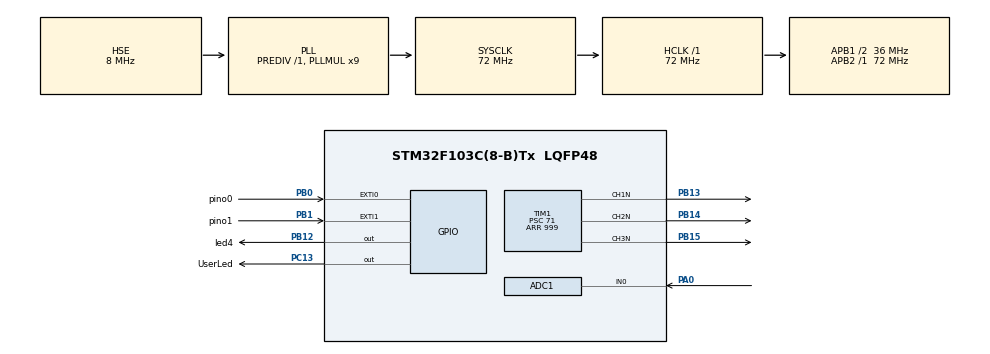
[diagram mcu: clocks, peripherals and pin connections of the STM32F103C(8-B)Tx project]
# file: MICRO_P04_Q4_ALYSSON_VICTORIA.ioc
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ADC1.Channel-0\#ChannelRegularConversion=ADC_CHANNEL_0
ADC1.ExternalTrigConv=ADC_EXTERNALTRIGCONV_T3_TRGO
ADC1.NbrOfConversionFlag=1
ADC1.Rank-0\#ChannelRegularConversion=1
ADC1.SamplingTime-0\#ChannelRegularConversion=ADC_SAMPLETIME_1CYCLE_5
ADC1.master=1
Dma.ADC1.0.Direction=DMA_PERIPH_TO_MEMORY
Dma.ADC1.0.Instance=DMA1_Channel1
Dma.ADC1.0.MemDataAlignment=DMA_MDATAALIGN_HALFWORD
Dma.ADC1.0.MemInc=DMA_MINC_ENABLE
Dma.ADC1.0.Mode=DMA_CIRCULAR
Dma.ADC1.0.PeriphDataAlignment=DMA_PDATAALIGN_HALFWORD
Dma.ADC1.0.PeriphInc=DMA_PINC_DISABLE
Dma.ADC1.0.Priority=DMA_PRIORITY_LOW
Dma.Request0=ADC1
Mcu.Family=STM32F1
Mcu.Name=STM32F103C(8-B)Tx
Mcu.Package=LQFP48
NVIC.ADC1_2_IRQn=true\:0\:0\:false\:false\:true\:true\:true\:true
NVIC.DMA1_Channel1_IRQn=true\:0\:0\:false\:false\:true\:false\:true\:true
NVIC.EXTI0_IRQn=true\:0\:0\:true\:false\:true\:true\:true\:true
NVIC.EXTI1_IRQn=true\:0\:0\:true\:false\:true\:true\:true\:true
NVIC.PriorityGroup=NVIC_PRIORITYGROUP_4
PA0-WKUP.Signal=ADCx_IN0
PA13.Mode=Serial_Wire
PA13.Signal=SYS_JTMS-SWDIO
PA14.Mode=Serial_Wire
PA14.Signal=SYS_JTCK-SWCLK
PB0.GPIO_Label=pino0
PB0.GPIO_ModeDefaultEXTI=GPIO_MODE_IT_FALLING
PB0.GPIO_PuPd=GPIO_PULLUP
PB0.Signal=GPXTI0
PB1.GPIO_Label=pino1
PB1.GPIO_ModeDefaultEXTI=GPIO_MODE_IT_FALLING
PB1.GPIO_PuPd=GPIO_PULLUP
PB1.Signal=GPXTI1
PB12.GPIO_Label=led4
PB12.GPIO_Speed=GPIO_SPEED_FREQ_LOW
PB12.PinState=GPIO_PIN_SET
PB12.Signal=GPIO_Output
PB13.Mode=PWM Generation1 CH1N
PB13.Signal=TIM1_CH1N
PB14.Mode=PWM Generation2 CH2N
PB14.Signal=TIM1_CH2N
PB15.Mode=PWM Generation3 CH3N
PB15.Signal=TIM1_CH3N
PC13-TAMPER-RTC.GPIO_Label=UserLed
PC13-TAMPER-RTC.PinState=GPIO_PIN_SET
PC13-TAMPER-RTC.Signal=GPIO_Output
PD0-OSC_IN.Mode=HSE-External-Oscillator
PD0-OSC_IN.Signal=RCC_OSC_IN
PD1-OSC_OUT.Mode=HSE-External-Oscillator
PD1-OSC_OUT.Signal=RCC_OSC_OUT
ProjectManager.HeapSize=0x200
ProjectManager.StackSize=0x400
ProjectManager.TargetToolchain=STM32CubeIDE
RCC.ADCPresc=RCC_ADCPCLK2_DIV6
RCC.AHBFreq_Value=72000000
RCC.APB1CLKDivider=RCC_HCLK_DIV2
RCC.APB1Freq_Value=36000000
RCC.APB1TimFreq_Value=72000000
RCC.APB2Freq_Value=72000000
RCC.APB2TimFreq_Value=72000000
RCC.HCLKFreq_Value=72000000
RCC.PLLMUL=RCC_PLL_MUL9
RCC.PLLSourceVirtual=RCC_PLLSOURCE_HSE
RCC.SYSCLKFreq_VALUE=72000000
RCC.SYSCLKSource=RCC_SYSCLKSOURCE_PLLCLK
RCC.USBFreq_Value=72000000
SH.ADCx_IN0.0=ADC1_IN0,IN0
TIM1.Channel-PWM\ Generation1\ CH1N=TIM_CHANNEL_1
TIM1.Channel-PWM\ Generation2\ CH2N=TIM_CHANNEL_2
TIM1.Channel-PWM\ Generation3\ CH3N=TIM_CHANNEL_3
TIM1.Period=999
TIM1.Prescaler=71
TIM3.Period=999
TIM3.Prescaler=7199
TIM3.TIM_MasterOutputTrigger=TIM_TRGO_UPDATE
VP_TIM3_VS_ClockSourceINT.Mode=Internal
board=custom

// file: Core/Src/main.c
/* USER CODE BEGIN Header */
/**
  ******************************************************************************
  * @file           : main.c
  * @brief          : Questão 4 - Configuração de saídas PWM
  * @author         : Alysson Lucas Pontes Cavalcante da Silva e Maria Victória Martins Neves
  * @date           : 06/05/2026
  * @details        : Aprendendo a realizar a configuração do PWM e duty cycle
  ******************************************************************************
  */
/* USER CODE END Header */
#include "main.h"

/* USER CODE BEGIN PD */
#define ADC_MAX_VAL 4095 // Resolução de 12 bits do ADC do STM32
#define ADC_BUF_LEN 1 // Tamanho do buffer do DMA

/* USER CODE END PD */

ADC_HandleTypeDef hadc1;
DMA_HandleTypeDef hdma_adc1;

TIM_HandleTypeDef htim1;
TIM_HandleTypeDef htim3;

void SystemClock_Config(void);
static void MX_GPIO_Init(void);
static void MX_DMA_Init(void);
static void MX_ADC1_Init(void);
static void MX_TIM3_Init(void);
static void MX_TIM1_Init(void);
/* USER CODE BEGIN PFP */
//prototipação das funções
void Funcao_D2_D3(uint32_t tempo_atual,uint32_t *tempo_Fading);
void UserLed(uint32_t tempo_atual, uint32_t *time_UserLed);
uint32_t Duty_Conversion(uint32_t valor_adc);
/* USER CODE END PFP */

int main(void)
{

  /* USER CODE BEGIN 1 */
	uint32_t tempo_atual = HAL_GetTick(); // Atualiza o tempo atual em milissegundos
	uint32_t time_UserLed= tempo_atual;  //Controlar o tempo do Userled.
	uint32_t adc_buffer[ADC_BUF_LEN];   // O DMA vai jogar os dados aqui
	uint32_t tempo_Fading = tempo_atual;

  /* USER CODE END 1 */

  /* MCU Configuration--------------------------------------------------------*/

  /* Reset of all peripherals, Initializes the Flash interface and the Systick. */
  HAL_Init();

  /* Configure the system clock */
  SystemClock_Config();

  /* Initialize all configured peripherals */
  MX_GPIO_Init();
  MX_DMA_Init();
  MX_ADC1_Init();
  MX_TIM3_Init();
  MX_TIM1_Init();
  /* USER CODE BEGIN 2 */

  HAL_ADC_Start_DMA(&hadc1, (uint32_t*)adc_buffer, ADC_BUF_LEN); // Inicializao ADC1
  HAL_TIM_Base_Start(&htim3); // Inicializa o TIM3 que está definido para 100ms

  //Estamos utilizando o canal N, Inicialização do PWM temporizador 1 e canais 3,2 e 1.
  HAL_TIMEx_PWMN_Start(&htim1,TIM_CHANNEL_3);
  HAL_TIMEx_PWMN_Start(&htim1,TIM_CHANNEL_2);
  HAL_TIMEx_PWMN_Start(&htim1,TIM_CHANNEL_1);
  /* USER CODE END 2 */

  /* Infinite loop */
  /* USER CODE BEGIN WHILE */
  while (1)
  {
	 tempo_atual = HAL_GetTick();
	 //Função Userled: pisca o userled 1950 apagado e 50ms aceso
	 UserLed(tempo_atual, &time_UserLed);
	 // Função para o D1 (A cada 100ms)
	 __HAL_TIM_SET_COMPARE(&htim1, TIM_CHANNEL_1, Duty_Conversion(adc_buffer[0]));
	 //Como é apenas uma função não é necessário criar uma função para essa linha.

	 // Função para o D2 e D3 (A cada 10ms)
	 Funcao_D2_D3(tempo_atual, &tempo_Fading);
    /* USER CODE END WHILE */

  }
}

void SystemClock_Config(void)
{
  RCC_OscInitTypeDef RCC_OscInitStruct = {0};
  RCC_ClkInitTypeDef RCC_ClkInitStruct = {0};
  RCC_PeriphCLKInitTypeDef PeriphClkInit = {0};

  /** Initializes the RCC Oscillators according to the specified parameters
  * in the RCC_OscInitTypeDef structure.
  */
  RCC_OscInitStruct.OscillatorType = RCC_OSCILLATORTYPE_HSE;
  RCC_OscInitStruct.HSEState = RCC_HSE_ON;
  RCC_OscInitStruct.HSEPredivValue = RCC_HSE_PREDIV_DIV1;
  RCC_OscInitStruct.HSIState = RCC_HSI_ON;
  RCC_OscInitStruct.PLL.PLLState = RCC_PLL_ON;
  RCC_OscInitStruct.PLL.PLLSource = RCC_PLLSOURCE_HSE;
  RCC_OscInitStruct.PLL.PLLMUL = RCC_PLL_MUL9;
  if (HAL_RCC_OscConfig(&RCC_OscInitStruct) != HAL_OK)
  {
    Error_Handler();
  }

  /** Initializes the CPU, AHB and APB buses clocks
  */
  RCC_ClkInitStruct.ClockType = RCC_CLOCKTYPE_HCLK|RCC_CLOCKTYPE_SYSCLK
                              |RCC_CLOCKTYPE_PCLK1|RCC_CLOCKTYPE_PCLK2;
  RCC_ClkInitStruct.SYSCLKSource = RCC_SYSCLKSOURCE_PLLCLK;
  RCC_ClkInitStruct.AHBCLKDivider = RCC_SYSCLK_DIV1;
  RCC_ClkInitStruct.APB1CLKDivider = RCC_HCLK_DIV2;
  RCC_ClkInitStruct.APB2CLKDivider = RCC_HCLK_DIV1;

  if (HAL_RCC_ClockConfig(&RCC_ClkInitStruct, FLASH_LATENCY_2) != HAL_OK)
  {
    Error_Handler();
  }
  PeriphClkInit.PeriphClockSelection = RCC_PERIPHCLK_ADC;
  PeriphClkInit.AdcClockSelection = RCC_ADCPCLK2_DIV6;
  if (HAL_RCCEx_PeriphCLKConfig(&PeriphClkInit) != HAL_OK)
  {
    Error_Handler();
  }
}

static void MX_ADC1_Init(void)
{

  ADC_ChannelConfTypeDef sConfig = {0};

  /** Common config
  */
  hadc1.Instance = ADC1;
  hadc1.Init.ScanConvMode = ADC_SCAN_DISABLE;
  hadc1.Init.ContinuousConvMode = DISABLE;
  hadc1.Init.DiscontinuousConvMode = DISABLE;
  hadc1.Init.ExternalTrigConv = ADC_EXTERNALTRIGCONV_T3_TRGO;
  hadc1.Init.DataAlign = ADC_DATAALIGN_RIGHT;
  hadc1.Init.NbrOfConversion = 1;
  if (HAL_ADC_Init(&hadc1) != HAL_OK)
  {
    Error_Handler();
  }

  /** Configure Regular Channel
  */
  sConfig.Channel = ADC_CHANNEL_0;
  sConfig.Rank = ADC_REGULAR_RANK_1;
  sConfig.SamplingTime = ADC_SAMPLETIME_1CYCLE_5;
  if (HAL_ADC_ConfigChannel(&hadc1, &sConfig) != HAL_OK)
  {
    Error_Handler();
  }

}

static void MX_TIM1_Init(void)
{

  TIM_MasterConfigTypeDef sMasterConfig = {0};
  TIM_OC_InitTypeDef sConfigOC = {0};
  TIM_BreakDeadTimeConfigTypeDef sBreakDeadTimeConfig = {0};

  htim1.Instance = TIM1;
  htim1.Init.Prescaler = 71;
  htim1.Init.CounterMode = TIM_COUNTERMODE_UP;
  htim1.Init.Period = 999;
  htim1.Init.ClockDivision = TIM_CLOCKDIVISION_DIV1;
  htim1.Init.RepetitionCounter = 0;
  htim1.Init.AutoReloadPreload = TIM_AUTORELOAD_PRELOAD_DISABLE;
  if (HAL_TIM_PWM_Init(&htim1) != HAL_OK)
  {
    Error_Handler();
  }
  sMasterConfig.MasterOutputTrigger = TIM_TRGO_RESET;
  sMasterConfig.MasterSlaveMode = TIM_MASTERSLAVEMODE_DISABLE;
  if (HAL_TIMEx_MasterConfigSynchronization(&htim1, &sMasterConfig) != HAL_OK)
  {
    Error_Handler();
  }
  sConfigOC.OCMode = TIM_OCMODE_PWM1;
  sConfigOC.Pulse = 0;
  sConfigOC.OCPolarity = TIM_OCPOLARITY_HIGH;
  sConfigOC.OCNPolarity = TIM_OCNPOLARITY_HIGH;
  sConfigOC.OCFastMode = TIM_OCFAST_DISABLE;
  sConfigOC.OCIdleState = TIM_OCIDLESTATE_RESET;
  sConfigOC.OCNIdleState = TIM_OCNIDLESTATE_RESET;
  if (HAL_TIM_PWM_ConfigChannel(&htim1, &sConfigOC, TIM_CHANNEL_1) != HAL_OK)
  {
    Error_Handler();
  }
  if (HAL_TIM_PWM_ConfigChannel(&htim1, &sConfigOC, TIM_CHANNEL_2) != HAL_OK)
  {
    Error_Handler();
  }
  if (HAL_TIM_PWM_ConfigChannel(&htim1, &sConfigOC, TIM_CHANNEL_3) != HAL_OK)
  {
    Error_Handler();
  }
  sBreakDeadTimeConfig.OffStateRunMode = TIM_OSSR_DISABLE;
  sBreakDeadTimeConfig.OffStateIDLEMode = TIM_OSSI_DISABLE;
  sBreakDeadTimeConfig.LockLevel = TIM_LOCKLEVEL_OFF;
  sBreakDeadTimeConfig.DeadTime = 0;
  sBreakDeadTimeConfig.BreakState = TIM_BREAK_DISABLE;
  sBreakDeadTimeConfig.BreakPolarity = TIM_BREAKPOLARITY_HIGH;
  sBreakDeadTimeConfig.AutomaticOutput = TIM_AUTOMATICOUTPUT_DISABLE;
  if (HAL_TIMEx_ConfigBreakDeadTime(&htim1, &sBreakDeadTimeConfig) != HAL_OK)
  {
    Error_Handler();
  }
  HAL_TIM_MspPostInit(&htim1);

}

static void MX_TIM3_Init(void)
{

  TIM_ClockConfigTypeDef sClockSourceConfig = {0};
  TIM_MasterConfigTypeDef sMasterConfig = {0};

  htim3.Instance = TIM3;
  htim3.Init.Prescaler = 7199;
  htim3.Init.CounterMode = TIM_COUNTERMODE_UP;
  htim3.Init.Period = 999;
  htim3.Init.ClockDivision = TIM_CLOCKDIVISION_DIV1;
  htim3.Init.AutoReloadPreload = TIM_AUTORELOAD_PRELOAD_DISABLE;
  if (HAL_TIM_Base_Init(&htim3) != HAL_OK)
  {
    Error_Handler();
  }
  sClockSourceConfig.ClockSource = TIM_CLOCKSOURCE_INTERNAL;
  if (HAL_TIM_ConfigClockSource(&htim3, &sClockSourceConfig) != HAL_OK)
  {
    Error_Handler();
  }
  sMasterConfig.MasterOutputTrigger = TIM_TRGO_UPDATE;
  sMasterConfig.MasterSlaveMode = TIM_MASTERSLAVEMODE_DISABLE;
  if (HAL_TIMEx_MasterConfigSynchronization(&htim3, &sMasterConfig) != HAL_OK)
  {
    Error_Handler();
  }

}

static void MX_DMA_Init(void)
{

  /* DMA controller clock enable */
  __HAL_RCC_DMA1_CLK_ENABLE();

  /* DMA interrupt init */
  /* DMA1_Channel1_IRQn interrupt configuration */
  HAL_NVIC_SetPriority(DMA1_Channel1_IRQn, 0, 0);
  HAL_NVIC_EnableIRQ(DMA1_Channel1_IRQn);

}

static void MX_GPIO_Init(void)
{
  GPIO_InitTypeDef GPIO_InitStruct = {0};

  /* GPIO Ports Clock Enable */
  __HAL_RCC_GPIOC_CLK_ENABLE();
  __HAL_RCC_GPIOD_CLK_ENABLE();
  __HAL_RCC_GPIOA_CLK_ENABLE();
  __HAL_RCC_GPIOB_CLK_ENABLE();

  /*Configure GPIO pin Output Level */
  HAL_GPIO_WritePin(UserLed_GPIO_Port, UserLed_Pin, GPIO_PIN_SET);

  /*Configure GPIO pin Output Level */
  HAL_GPIO_WritePin(led4_GPIO_Port, led4_Pin, GPIO_PIN_SET);

  /*Configure GPIO pin : UserLed_Pin */
  GPIO_InitStruct.Pin = UserLed_Pin;
  GPIO_InitStruct.Mode = GPIO_MODE_OUTPUT_PP;
  GPIO_InitStruct.Pull = GPIO_NOPULL;
  GPIO_InitStruct.Speed = GPIO_SPEED_FREQ_LOW;
  HAL_GPIO_Init(UserLed_GPIO_Port, &GPIO_InitStruct);

  /*Configure GPIO pins : pino0_Pin pino1_Pin */
  GPIO_InitStruct.Pin = pino0_Pin|pino1_Pin;
  GPIO_InitStruct.Mode = GPIO_MODE_IT_FALLING;
  GPIO_InitStruct.Pull = GPIO_PULLUP;
  HAL_GPIO_Init(GPIOB, &GPIO_InitStruct);

  /*Configure GPIO pin : led4_Pin */
  GPIO_InitStruct.Pin = led4_Pin;
  GPIO_InitStruct.Mode = GPIO_MODE_OUTPUT_PP;
  GPIO_InitStruct.Pull = GPIO_NOPULL;
  GPIO_InitStruct.Speed = GPIO_SPEED_FREQ_LOW;
  HAL_GPIO_Init(led4_GPIO_Port, &GPIO_InitStruct);

  /* EXTI interrupt init*/
  HAL_NVIC_SetPriority(EXTI0_IRQn, 0, 0);
  HAL_NVIC_EnableIRQ(EXTI0_IRQn);

  HAL_NVIC_SetPriority(EXTI1_IRQn, 0, 0);
  HAL_NVIC_EnableIRQ(EXTI1_IRQn);

}

/* USER CODE BEGIN 4 */

/**
  * @brief  Gerencia o efeito de "fading" (respiração) nos LEDs D2 e D3 via PWM.
  * Incrementa ou decrementa o duty cycle em 1% (10 unidades) a cada 10ms,
  * alternando o sentido ao atingir os limites de 0 ou 990.
  * @param  tempo_atual Tempo atual do sistema em milissegundos.
  * @param  tempo_Fading Ponteiro para a variável que controla o intervalo de atualização do efeito.
  * @retval None
  */
void Funcao_D2_D3(uint32_t tempo_atual, uint32_t *tempo_Fading)
{
    static uint16_t duty_fading = 0;
    static uint8_t subindo = 1; // Para saber a direção (1 = subindo, 0 = descendo)

    if ((tempo_atual - *tempo_Fading) >= 10)
    {
        __HAL_TIM_SET_COMPARE(&htim1, TIM_CHANNEL_2, duty_fading);
        __HAL_TIM_SET_COMPARE(&htim1, TIM_CHANNEL_3, duty_fading);

        if (subindo) {
            duty_fading += 10;
            if (duty_fading >= 990) subindo = 0;
        } else {
            duty_fading -= 10;
            if (duty_fading == 0) subindo = 1;
        }

        *tempo_Fading = tempo_atual;
    }
}
/**
  * @brief  Máquina de estados não-bloqueante responsável por indicar o funcionamento do sistema (Heartbeat).
  * Pisca o UserLed de forma contínua no padrão 50ms aceso e 1950ms apagado.
  * @param  tempo_atual Tempo atual do sistema em milissegundos.
  * @param  time_UserLed Ponteiro para a variável que gerencia a transição de estados do LED.
  * @retval None
  */
void UserLed(uint32_t tempo_atual, uint32_t *time_UserLed)
{

    if (HAL_GPIO_ReadPin(UserLed_GPIO_Port, UserLed_Pin) == GPIO_PIN_SET)
    {
        if ((tempo_atual - *time_UserLed) >= 1950) {
            HAL_GPIO_WritePin(UserLed_GPIO_Port, UserLed_Pin, GPIO_PIN_RESET);
            *time_UserLed = tempo_atual;
        }
    } else {
        if ((tempo_atual - *time_UserLed) >= 50) {
            HAL_GPIO_WritePin(UserLed_GPIO_Port, UserLed_Pin, GPIO_PIN_SET);
            *time_UserLed = tempo_atual;
        }
    }
}
/**
  * @brief  Realiza a conversão linear do valor lido pelo ADC para a escala do Timer PWM.
  * Mapeia o valor de entrada (0 a ADC_MAX_VAL) para o intervalo de duty cycle (0 a 999).
  * @param  valor_adc Valor bruto lido do periférico ADC.
  * @retval Valor calculado para o registrador de comparação do PWM (CCR).
  */
uint32_t Duty_Conversion(uint32_t valor_adc)
{
    // Garante que o valor não passe de 999
    return (((valor_adc * 999)/ADC_MAX_VAL));
}

/* USER CODE END 4 */

void Error_Handler(void)
{
  __disable_irq();
  while (1)
  {
  }
}
